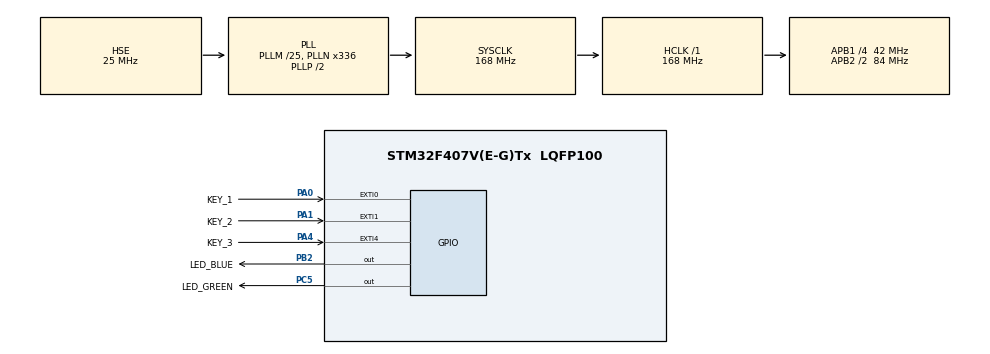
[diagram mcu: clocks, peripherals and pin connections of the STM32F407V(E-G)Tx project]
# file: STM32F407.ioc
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Mcu.Family=STM32F4
Mcu.Name=STM32F407V(E-G)Tx
Mcu.Package=LQFP100
NVIC.EXTI0_IRQn=true\:0\:0\:false\:false\:true\:true\:true\:true
NVIC.EXTI1_IRQn=true\:0\:0\:false\:false\:true\:true\:true\:true
NVIC.EXTI4_IRQn=true\:0\:0\:false\:false\:true\:true\:true\:true
NVIC.PriorityGroup=NVIC_PRIORITYGROUP_4
PA0-WKUP.GPIO_Label=KEY_1
PA0-WKUP.GPIO_ModeDefaultEXTI=GPIO_MODE_IT_RISING
PA0-WKUP.GPIO_PuPd=GPIO_PULLDOWN
PA0-WKUP.Signal=GPXTI0
PA1.GPIO_Label=KEY_2
PA1.GPIO_ModeDefaultEXTI=GPIO_MODE_IT_FALLING
PA1.GPIO_PuPd=GPIO_PULLUP
PA1.Signal=GPXTI1
PA13.Mode=Serial_Wire
PA13.Signal=SYS_JTMS-SWDIO
PA14.Mode=Serial_Wire
PA14.Signal=SYS_JTCK-SWCLK
PA4.GPIO_Label=KEY_3
PA4.GPIO_ModeDefaultEXTI=GPIO_MODE_IT_FALLING
PA4.GPIO_PuPd=GPIO_PULLUP
PA4.Signal=GPXTI4
PB2.GPIO_Label=LED_BLUE
PB2.Signal=GPIO_Output
PC5.GPIO_Label=LED_GREEN
PC5.Signal=GPIO_Output
PH0-OSC_IN.Mode=HSE-External-Oscillator
PH0-OSC_IN.Signal=RCC_OSC_IN
PH1-OSC_OUT.Mode=HSE-External-Oscillator
PH1-OSC_OUT.Signal=RCC_OSC_OUT
ProjectManager.HeapSize=0x200
ProjectManager.StackSize=0x1000
ProjectManager.TargetToolchain=MDK-ARM V5.32
RCC.48MHZClocksFreq_Value=84000000
RCC.AHBFreq_Value=168000000
RCC.APB1CLKDivider=RCC_HCLK_DIV4
RCC.APB1Freq_Value=42000000
RCC.APB1TimFreq_Value=84000000
RCC.APB2CLKDivider=RCC_HCLK_DIV2
RCC.APB2Freq_Value=84000000
RCC.APB2TimFreq_Value=168000000
RCC.CortexFreq_Value=168000000
RCC.HCLKFreq_Value=168000000
RCC.HSE_VALUE=25000000
RCC.HSI_VALUE=16000000
RCC.LSE_VALUE=32768
RCC.PLLM=25
RCC.PLLN=336
RCC.PLLSourceVirtual=RCC_PLLSOURCE_HSE
RCC.SYSCLKFreq_VALUE=168000000
RCC.SYSCLKSource=RCC_SYSCLKSOURCE_PLLCLK
RCC.VCOOutputFreq_Value=336000000
board=custom

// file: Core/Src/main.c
/* USER CODE BEGIN Header */
/**
  ******************************************************************************
  * @file           : main.c
  * @brief          : Main program body
  ******************************************************************************
  * @attention
  *
  * Copyright (c) 2023 STMicroelectronics.
  * All rights reserved.
  *
  * This software is licensed under terms that can be found in the LICENSE file
  * in the root directory of this software component.
  * If no LICENSE file comes with this software, it is provided AS-IS.
  *
  * 实验说明
  * 接线：开发板上带的RS485电路，在开发板右上角，可以通过跳线帽，很方便地连接UART3, 即PB10、PB11
  *       也可以使用杜邦，选择其它串口
  * 代码：本示例，使用了bsp_UART.c作串口通信的底层驱动。
  *
  ******************************************************************************
  */
/* USER CODE END Header */
#include "main.h"
#include "gpio.h"

/* USER CODE BEGIN Includes */
/* 所有用户代码，必须写在配对的BEGIN与END注释行之间，否则重新生成时会被删除 */
#include <stdio.h>              // 用于sprintf函数
#include <string.h>
#include "bsp_UART.h"

/* USER CODE END Includes */

void SystemClock_Config(void);

/* USER CODE BEGIN 0 */
/* 所有用户代码，必须写在配对的BEGIN与END注释行之间，否则重新生成时会被删除 */

/* USER CODE END 0 */

int main(void)
{
    /* USER CODE BEGIN 1 */

    /* 说明：
     * 1. 不要删除CubeMX生成的注释行（形如 USER CODE BEGIN/END），这些注释用于代码重新生成时的定位
     * 2. 所有用户自定义代码必须写在对应的BEGIN与END注释行之间，否则重新生成时会被覆盖
     * 3. 主要初始化函数说明：
     *    - HAL_Init()            初始化HAL库，配置中断优先级、系统时基等
     *    - SystemClock_Config()  配置系统时钟
     *    - MX_GPIO_Init()        初始化GPIO引脚（仅包含推挽输出、中断触发等配置）
     *    - 外设功能引脚（如UART、SPI等）的初始化在各自的功能文件中
     */

    /* USER CODE END 1 */

    /* MCU Configuration--------------------------------------------------------*/

    /* Reset of all peripherals, Initializes the Flash interface and the Systick. */
    HAL_Init();

    /* Configure the system clock */
    SystemClock_Config();

    /* Initialize all configured peripherals */
    MX_GPIO_Init();
    /* USER CODE BEGIN 2 */
    /* 所有用户代码，必须写在配对的BEGIN与END注释行之间，否则重新生成时会被删除 */

    UART1_Init(115200);                  // 初始化 UART1; 使用默认引脚: PA9 +PA10; 这俩引脚已并联了板载USB转TTL电路，可用于与电脑串口助手通信

    UART3_Init(9600);                    // 初始化 UART3; 使用默认引脚: PB10+PB11;

    /* USER CODE END 2 */

    /* Infinite loop */
    while (1)
    {

        /* USER CODE BEGIN 3 */
        /* 所有用户代码，必须写在配对的BEGIN与END注释行之间，否则重新生成时会被删除 */

        HAL_Delay(1 - 1);                                                   // 延时函数，参数：ms; 注意：CubeMX生成的HAL_Delay(), 函数内部为避免无效操作，会对传入参数+1，因此，如果只需要几ms延时建议传入参数时-1，如果需要大几百ms的非精准延时，那参数不-1也影响不大

        /** USART1 的接收示范(通过串口助手) **/
        if (UART1_GetRxNum())                                               // 判断串口是否收到数据
        {
            uint16_t  RxNum = UART1_GetRxNum();                             // 获取串口最后一帧接收的字节数
            uint8_t  *RxData = UART1_GetRxData();                           // 获取串口最后一帧接收的数据(地址)
            printf("\r<<<<< UART1 接收到一帧数据 \r");                      // 提示

            printf("字节数：%d \r", RxNum);                                 // 显示字节数
            printf("ASCII : %s\r", (char *)RxData);                         // 显示数据，以ASCII方式显示，即以字符串的方式显示
            printf("16进制: ");                                             // 显示数据，以16进制方式，显示每一个字节的值
            for (uint16_t i = 0; i < RxNum; i++)                            // 逐个字节输出
                printf("0x%X ", RxData[i]);                                 // 以16进制显示
            printf("\r");                                                   // 显示换行
            printf("\r>>>>> 将向串口3发送本帧的数据 \r");                   // 提示发送, 即把串口助手发过来的数据(UART1接收到的), 发送到其它串口
            UART3_SendData(RxData, RxNum);                                  // 把串口1接收到的数据(串口助手发过来的), 通过串口3发送到RS485总线
            printf("\r");                                                   // 显示换行
            UART1_ClearRx();                                                // 清0接收标记
        }

        /** RS485的接收判断、数据处理 **/
        if (UART3_GetRxNum())                                               // 判断串口是否收到数据
        {
            uint16_t  RxNum = UART3_GetRxNum();                             // 获取串口最后一帧接收的字节数
            uint8_t  *RxData = UART3_GetRxData();                           // 获取串口最后一帧接收的数据(地址)

            printf("\r原始数据：");                                         // 提示
            for (uint16_t i = 0; i < RxNum; i++)                            // 逐个字节输出
                printf("0x%02X ", RxData[i]);                               // 以16进制显示
            printf(" ,共%d字节, ", RxNum);                                  // 显示字节数

            if (Modbus_CheckCRC16(RxData, RxNum))                           // 为了确保数据正确，对原始数据的末尾两位，进行CRC16校验
            {
                printf("CRC16检验正确！ \r");                               // 提示
                float humi = (RxData[3] * 256 + RxData[4]) / 10.0;          // 解释数据：湿度; 10进制
                float temp = (RxData[5] * 256 + RxData[6]) / 10.0;          // 解释数据：温度; 10进制
                printf("温度 = %4.1f℃ , 湿度 = %4.1f%% \r", temp, humi);    // printf到串口助手
            }

            UART3_ClearRx();                                                // 清0接收标记
        }

        /** 每500ms规律地闪烁绿色LED, 便于观察程序是否运行、卡死 **/
        static uint32_t lastTime_500ms = 0;                                 // 定义静态变量，用于记录上次执行这个任务的时间点(单位：毫秒)
        if (HAL_GetTick() - lastTime_500ms >= 500)                          // 检查当前时间距离上次执行是否已经过了500ms; HAL_GetTick()是获取启动后经过的毫秒数;
        {
            HAL_GPIO_TogglePin(GPIOC, GPIO_PIN_5);                          // 控制绿色LED引脚电平翻转(PC5); 规律地闪烁LED，方便外部观察系统是否正常运行
            lastTime_500ms =   HAL_GetTick();                               // 记录当前时间，作为新的基准点，为下一次判断做准备
        }

        /** 每1000ms执行一次的任务 **/
        static uint32_t lastTime_1000ms = 0;                                // 定义静态变量，用于记录上次执行这个任务的时间点(单位：毫秒)
        if (HAL_GetTick() - lastTime_1000ms >= 1000)                        // 检查当前时间距离上次执行是否已经过了1000毫秒; HAL_GetTick()是获取启动后经过的毫秒数
        {
            // 每秒发送一次指令，令指定从机返回指定数据
            static uint8_t txData[8] = {0};
            uint16_t crc16 = 0 ;
            txData[0] = 0x01;  	                                             // 地址; 设备出厂时的默认地址0x01，可用厂家软件进行配置
            txData[1] = 0x03;  		                                         // 功能码 读
            txData[2] = 0x00;  		                                         // 寄存器地址 高字节
            txData[3] = 0x00;  		                                         // 寄存器地址 低字节
            txData[4] = 0x00;  		                                         // 访问字节个数 高8位
            txData[5] = 0x02;  		                                         // 访问字节个数 低8位
            crc16 = Modbus_GetCRC16(txData, 6);                              // 计算CRC校验值
            txData[6] = crc16 >> 8;		                                     // crc 高8位
            txData[7] = crc16 & 0xFF;	                                     // crc 低8位
            UART3_SendData(txData, 8);

            lastTime_1000ms =   HAL_GetTick();                               // 记录当前时间，作为新的基准点，为下一次判断做准备
        }

    }
    /* USER CODE END 3 */
}

void SystemClock_Config(void)
{
    RCC_OscInitTypeDef RCC_OscInitStruct = {0};
    RCC_ClkInitTypeDef RCC_ClkInitStruct = {0};

    /** Configure the main internal regulator output voltage
    */
    __HAL_RCC_PWR_CLK_ENABLE();
    __HAL_PWR_VOLTAGESCALING_CONFIG(PWR_REGULATOR_VOLTAGE_SCALE1);

    /** Initializes the RCC Oscillators according to the specified parameters
    * in the RCC_OscInitTypeDef structure.
    */
    RCC_OscInitStruct.OscillatorType = RCC_OSCILLATORTYPE_HSE;
    RCC_OscInitStruct.HSEState = RCC_HSE_ON;
    RCC_OscInitStruct.PLL.PLLState = RCC_PLL_ON;
    RCC_OscInitStruct.PLL.PLLSource = RCC_PLLSOURCE_HSE;
    RCC_OscInitStruct.PLL.PLLM = 25;
    RCC_OscInitStruct.PLL.PLLN = 336;
    RCC_OscInitStruct.PLL.PLLP = RCC_PLLP_DIV2;
    RCC_OscInitStruct.PLL.PLLQ = 4;
    if (HAL_RCC_OscConfig(&RCC_OscInitStruct) != HAL_OK)
    {
        Error_Handler();
    }

    /** Initializes the CPU, AHB and APB buses clocks
    */
    RCC_ClkInitStruct.ClockType = RCC_CLOCKTYPE_HCLK | RCC_CLOCKTYPE_SYSCLK
                                  | RCC_CLOCKTYPE_PCLK1 | RCC_CLOCKTYPE_PCLK2;
    RCC_ClkInitStruct.SYSCLKSource = RCC_SYSCLKSOURCE_PLLCLK;
    RCC_ClkInitStruct.AHBCLKDivider = RCC_SYSCLK_DIV1;
    RCC_ClkInitStruct.APB1CLKDivider = RCC_HCLK_DIV4;
    RCC_ClkInitStruct.APB2CLKDivider = RCC_HCLK_DIV2;

    if (HAL_RCC_ClockConfig(&RCC_ClkInitStruct, FLASH_LATENCY_5) != HAL_OK)
    {
        Error_Handler();
    }
}

/* USER CODE BEGIN 4 */
/* 所有用户代码，必须写在配对的BEGIN与END注释行之间，否则重新生成时会被删除 */

/******************************************************************************
 * 函  数： HAL_GPIO_EXTI_Callback
 * 功  能： EXTI中断回调函数
 * 参  数： uint16_t  GPIO_Pin    引脚编号，参数范围：GPIO_Pin_0 ~ GPIO_Pin_15
 * 返回值： 无
 * 备  注： CubeMX生成的代码在思维和风格上，与使用标准库编写时有很大的区别：
 *          1：这个是回调函数，不是中断服务函数。完整的调用：EXTIx_IRQHandler() > HAL_GPIO_EXTI_IRQHandler(GPIO_PIN_x) > HAL_GPIO_EXTI_Callback(GPIO_PIN_x)
 *          2：必须使用这个函数名称，因为它在CubeMX生成时，已被写好了各种函数调用、函数弱定义(在stm32xx_hal_gpio.c的底部); 不建议在原弱定义中增添代码，而是重写本函数
 *          3：中断条件触发后，本函数被自动调用，无需进行人工调用; 也无需进行中断标志的清理，因为HAL_GPIO_EXTI_IRQHandler()函数中已有操作;
 *          4：生成的所有EXTI中断服务函数，都统一调用这个函数，以引脚编号作参数
 *          5：判断参数传进来的引脚编号，即可知道是哪个外部中断线产生的中断信号
******************************************************************************/
void HAL_GPIO_EXTI_Callback(uint16_t GPIO_Pin)
{
    if (GPIO_Pin == KEY_1_Pin)                                  // 按键1 产生的中断信号：KEY_1、PA0、闲时下拉、按下时高电平、上升沿触发
    {
        HAL_GPIO_TogglePin(GPIOB, GPIO_PIN_2);                  // 反转蓝色LED灯状态
        printf("KEY_1 按下\r");                                 // 通过串口助手输出提示
    }

    if (GPIO_Pin == KEY_2_Pin)                                  // 按键2 产生的中断信号：KEY_2、PA1、闲时上拉、按下时低电平、下降沿触发
    {
        HAL_GPIO_TogglePin(GPIOB, GPIO_PIN_2);                  // 反转蓝色LED灯状态
        printf("KEY_2 按下\r");                                 // 通过串口助手输出提示
    }

    if (GPIO_Pin == KEY_3_Pin)                                  // 按键3 产生的中断信号：KEY_3、PA4、闲时上拉、按下低高电平、下降沿触发
    {
        HAL_GPIO_TogglePin(GPIOB, GPIO_PIN_2);                  // 反转蓝色LED灯状态
        printf("KEY_3 按下\r");                                 // 通过串口助手输出提示
    }
}

/* 所有用户代码，必须写在配对的BEGIN与END注释行之间，否则重新生成时会被删除 */
/* USER CODE END 4 */

void Error_Handler(void)
{
    __disable_irq();
    while (1)
    {
    }
}
